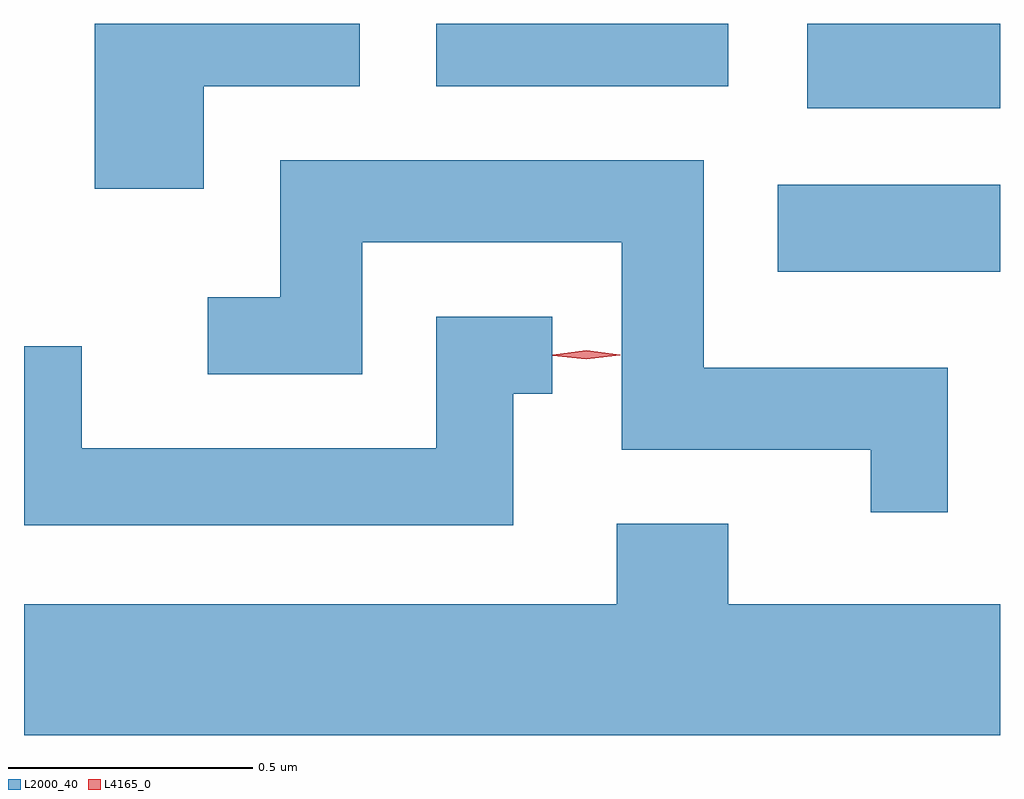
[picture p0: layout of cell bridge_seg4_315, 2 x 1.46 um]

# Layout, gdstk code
import gdstk
lib = gdstk.Library(unit=1e-6, precision=1e-09)
def R(c, l, rs):  # rectangles x0, y0, x1, y1
    for r in rs: c.add(gdstk.rectangle(r[:2], r[2:], *l))
def P(c, l, *ps):  # polygons
    for p in ps: c.add(gdstk.Polygon(p, *l))
L2000_40 = (2000, 40)
L4165_0 = (4165, 0)

bridge_seg4_315 = lib.new_cell('bridge_seg4_315')
R(bridge_seg4_315, L2000_40, [(534.211,1289.026,534.666,1289.204), (534.271,1289.361,534.666,1289.534), (533.511,1289.406,534.109,1289.534)])
P(bridge_seg4_315, L2000_40, [(533.034,1289.406),(533.354,1289.406),(533.354,1289.534),(532.811,1289.534),(532.811,1289.196),(533.034,1289.196)],
  [(534.559,1288.829),(534.059,1288.829),(534.059,1289.254),(533.191,1289.254),(533.191,1288.974),(533.043,1288.974),(533.043,1288.816),(533.359,1288.816),(533.359,1289.086),(533.891,1289.086),(533.891,1288.661),(534.401,1288.661),(534.401,1288.533),(534.559,1288.533)],
  [(533.669,1288.776),(533.748,1288.776),(533.748,1288.934),(533.511,1288.934),(533.511,1288.664),(532.784,1288.664),(532.784,1288.873),(532.666,1288.873),(532.666,1288.506),(533.669,1288.506)],
  [(534.666,1288.344),(534.109,1288.344),(534.109,1288.509),(533.881,1288.509),(533.881,1288.344),(532.666,1288.344),(532.666,1288.076),(534.666,1288.076)])
P(bridge_seg4_315, L4165_0, [(533.818,1288.846),(533.749,1288.854),(533.749,1288.855),(533.749,1288.856),(533.818,1288.865),(533.888,1288.856),(533.888,1288.856),(533.888,1288.855)])

lib.write_gds('bridge_seg4_315.gds')
